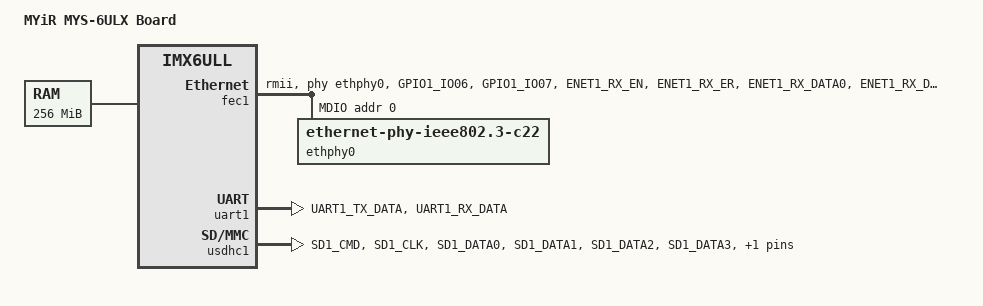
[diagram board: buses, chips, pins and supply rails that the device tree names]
/*
 * Copyright (C) 2016 Freescale Semiconductor, Inc.
 * Copyright (C) 2018 Sven Schwermer
 *
 * This program is free software; you can redistribute it and/or modify
 * it under the terms of the GNU General Public License version 2 as
 * published by the Free Software Foundation.
 */

/dts-v1/;

#include "imx6ull.dtsi"

/ {
	model = "MYiR MYS-6ULX Board";
	compatible = "myir,mys6ulx", "fsl,imx6ull";

	chosen {
		stdout-path = &uart1;
	};

	memory {
		reg = <0x80000000 0x10000000>;
	};
};

&cpu0 {
	arm-supply = <&reg_arm>;
	soc-supply = <&reg_soc>;
};

&fec1 {
	pinctrl-names = "default";
	pinctrl-0 = <&pinctrl_enet1_a &pinctrl_enet1_b>;
	phy-mode = "rmii";
	phy-handle = <&ethphy0>;
	phy-reset-gpios = <&gpio5 6 GPIO_ACTIVE_LOW>;
	phy-reset-duration = <1000>;
	status = "okay";

	mdio: mdio {
		#address-cells = <1>;
		#size-cells = <0>;

		ethphy0: ethernet-phy@0 {
			compatible = "ethernet-phy-ieee802.3-c22";
			reg = <0>;
		};
	};
};

&iomuxc {
	pinctrl-names = "default";
	pinctrl-0 = <&pinctrl_hog_1>;
	mys6ulx {
		pinctrl_hog_1: hoggrp-1 {
			fsl,pins = <
				MX6UL_PAD_UART1_RTS_B__GPIO1_IO19	0x17059 /* SD1 CD */
			>;
		};

		pinctrl_enet1_a: enet1grp {
			fsl,pins = <
				MX6UL_PAD_GPIO1_IO06__ENET1_MDIO	0x1b0b0
				MX6UL_PAD_GPIO1_IO07__ENET1_MDC	0x1b0b0
				MX6UL_PAD_ENET1_RX_EN__ENET1_RX_EN	0x1b0b0
				MX6UL_PAD_ENET1_RX_ER__ENET1_RX_ER	0x1b0b0
				MX6UL_PAD_ENET1_RX_DATA0__ENET1_RDATA00	0x1b0b0
				MX6UL_PAD_ENET1_RX_DATA1__ENET1_RDATA01	0x1b0b0
				MX6UL_PAD_ENET1_TX_EN__ENET1_TX_EN	0x1b0b0
				MX6UL_PAD_ENET1_TX_DATA0__ENET1_TDATA00	0x1b0b0
				MX6UL_PAD_ENET1_TX_DATA1__ENET1_TDATA01	0x1b0b0
				MX6UL_PAD_ENET1_TX_CLK__ENET1_REF_CLK1	0x4001b031
			>;
		};

		pinctrl_uart1: uart1grp {
			fsl,pins = <
				MX6UL_PAD_UART1_TX_DATA__UART1_DCE_TX 0x1b0b1
				MX6UL_PAD_UART1_RX_DATA__UART1_DCE_RX 0x1b0b1
			>;
		};

		pinctrl_usdhc1: usdhc1grp {
			fsl,pins = <
				MX6UL_PAD_SD1_CMD__USDHC1_CMD     0x17059
				MX6UL_PAD_SD1_CLK__USDHC1_CLK     0x10071
				MX6UL_PAD_SD1_DATA0__USDHC1_DATA0 0x17059
				MX6UL_PAD_SD1_DATA1__USDHC1_DATA1 0x17059
				MX6UL_PAD_SD1_DATA2__USDHC1_DATA2 0x17059
				MX6UL_PAD_SD1_DATA3__USDHC1_DATA3 0x17059
			>;
		};
	};
};

&iomuxc_snvs {
    pinctrl-names = "default_snvs";
	mys6ulx {
		pinctrl_enet1_b: enet1grp {
			fsl,pins = <
				MX6ULL_PAD_SNVS_TAMPER6__GPIO5_IO06	0x130b0
			>;
		};
	};
};

&uart1 {
	pinctrl-names = "default";
	pinctrl-0 = <&pinctrl_uart1>;
	status = "okay";
};

&usdhc1 {
	pinctrl-names = "default";
	pinctrl-0 = <&pinctrl_usdhc1>;
	cd-gpios = <&gpio1 19 GPIO_ACTIVE_LOW>;
	keep-power-in-suspend;
	enable-sdio-wakeup;
	status = "okay";
};

